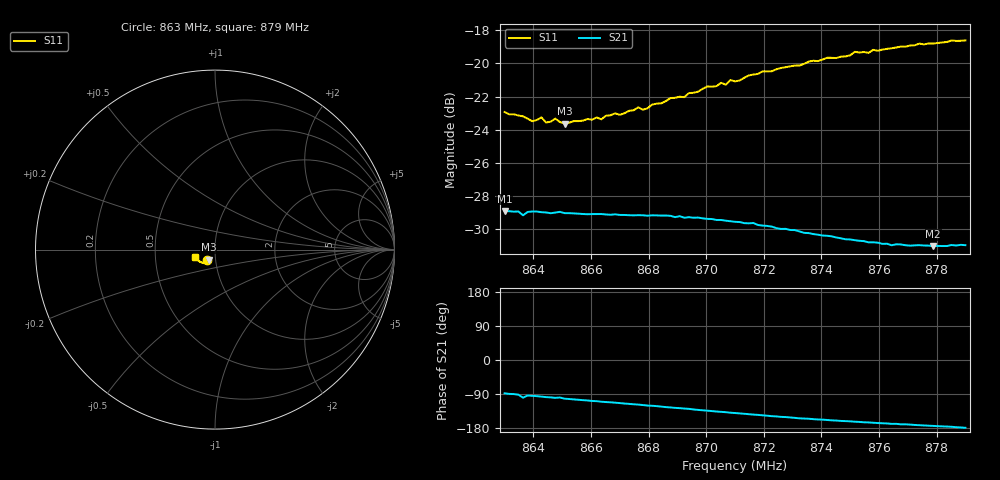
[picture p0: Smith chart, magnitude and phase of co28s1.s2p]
# HZ S RI R 50
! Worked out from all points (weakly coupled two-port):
!   101 points, 863 MHz to 879 MHz, reference 50 ohm
!   highest |S21| = -28.92 dB at 863 MHz (marker M1); lowest = -31.0 dB at 877.88 MHz (marker M2)
!   lowest |S11| = -23.6 dB at 865.08 MHz (marker M3), VSWR 1.14, Z = 46.3 - j5.17 ohm
!   |S11| at or under -10 dB: start of sweep to end of sweep
!   S12 and S22 are empty: the file has one direction only
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8.63e8  -0.0449 -0.0555  0.00134 -0.0358  0 0  0 0
8.6348e8  -0.0431 -0.0546  -0.000955 -0.0357  0 0  0 0
8.6364e8  -0.0423 -0.0548  -0.00572 -0.0343  0 0  0 0
8.6396e8  -0.0393 -0.0541  -0.00287 -0.0356  0 0  0 0
8.6428e8  -0.0386 -0.0569  -0.00409 -0.0353  0 0  0 0
8.6444e8  -0.0383 -0.0542  -0.00493 -0.0351  0 0  0 0
8.6476e8  -0.0386 -0.0562  -0.00607 -0.0349  0 0  0 0
8.6508e8  -0.0352 -0.0556  -0.00736 -0.0345  0 0  0 0
8.6572e8  -0.0341 -0.0579  -0.00964 -0.0338  0 0  0 0
8.6636e8  -0.0348 -0.0582  -0.0121 -0.033  0 0  0 0
8.6652e8  -0.0345 -0.0604  -0.0125 -0.0327  0 0  0 0
8.6844e8  -0.0366 -0.0664  -0.0189 -0.0291  0 0  0 0
8.6876e8  -0.0378 -0.0689  -0.02 -0.0283  0 0  0 0
8.6924e8  -0.0387 -0.069  -0.0211 -0.0269  0 0  0 0
8.7004e8  -0.0438 -0.0732  -0.0234 -0.0245  0 0  0 0
8.71e8  -0.0485 -0.0738  -0.0255 -0.0214  0 0  0 0
8.7196e8  -0.057 -0.0756  -0.0268 -0.0181  0 0  0 0
8.7372e8  -0.0697 -0.0743  -0.0279 -0.0124  0 0  0 0
8.7516e8  -0.0834 -0.0693  -0.028 -0.00863  0 0  0 0
8.7644e8  -0.0927 -0.0613  -0.0277 -0.00558  0 0  0 0
8.7788e8  -0.1037 -0.0494  -0.0279 -0.003  0 0  0 0
8.79e8  -0.1108 -0.0386  -0.0283 -0.000558  0 0  0 0
